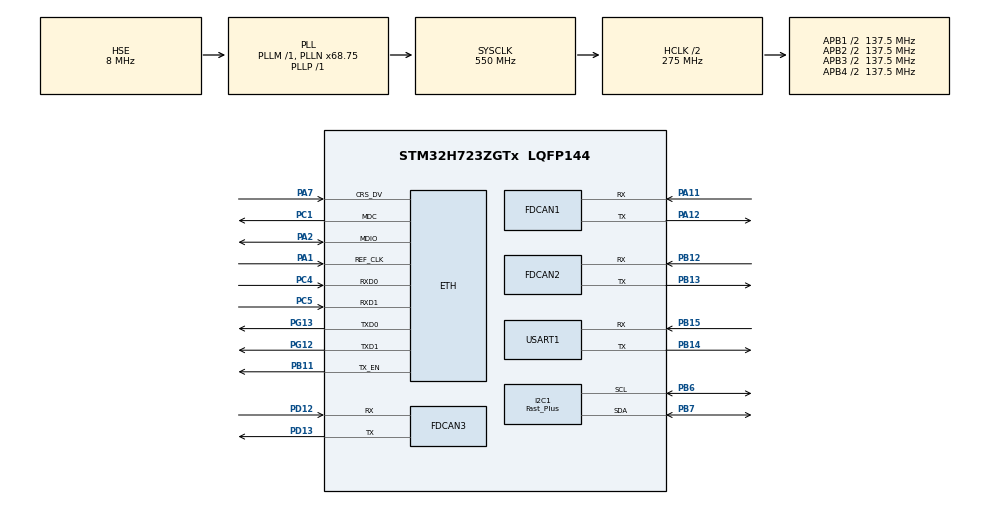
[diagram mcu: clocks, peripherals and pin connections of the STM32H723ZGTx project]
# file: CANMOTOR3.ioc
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CORTEX_M7.AccessPermission_S-Cortex_Memory_Protection_Unit_Region1_Settings_S=MPU_REGION_FULL_ACCESS
CORTEX_M7.AccessPermission_S-Cortex_Memory_Protection_Unit_Region2_Settings_S=MPU_REGION_FULL_ACCESS
CORTEX_M7.AccessPermission_Spec=MPU_REGION_NO_ACCESS
CORTEX_M7.BaseAddress_S-Cortex_Memory_Protection_Unit_Region1_Settings_S=0x30000000
CORTEX_M7.BaseAddress_S-Cortex_Memory_Protection_Unit_Region2_Settings_S=0x30004000
CORTEX_M7.CPU_DCache=Enabled
CORTEX_M7.CPU_ICache=Enabled
CORTEX_M7.Enable_S-Cortex_Memory_Protection_Unit_Region1_Settings_S=MPU_REGION_ENABLE
CORTEX_M7.Enable_S-Cortex_Memory_Protection_Unit_Region2_Settings_S=MPU_REGION_ENABLE
CORTEX_M7.IsBufferable_S-Cortex_Memory_Protection_Unit_Region1_Settings_S=MPU_ACCESS_BUFFERABLE
CORTEX_M7.IsShareable_S-Cortex_Memory_Protection_Unit_Region2_Settings_S=MPU_ACCESS_SHAREABLE
CORTEX_M7.Size_S-Cortex_Memory_Protection_Unit_Region1_Settings_S=MPU_REGION_SIZE_1KB
CORTEX_M7.Size_S-Cortex_Memory_Protection_Unit_Region2_Settings_S=MPU_REGION_SIZE_16KB
CORTEX_M7.TypeExtField_S-Cortex_Memory_Protection_Unit_Region2_Settings_S=MPU_TEX_LEVEL1
CORTEX_M7.default_mode_Activation=1
ETH.MediaInterface=HAL_ETH_RMII_MODE
ETH.RxBufferAddress=0x30000400
ETH.TxDescAddress=0x30000200
FDCAN1.AutoRetransmission=DISABLE
FDCAN1.CalculateBaudRateNominal=1000000
FDCAN1.CalculateTimeBitNominal=1000
FDCAN1.CalculateTimeQuantumNominal=20.0
FDCAN1.DataPrescaler=2
FDCAN1.DataSyncJumpWidth=5
FDCAN1.DataTimeSeg1=14
FDCAN1.DataTimeSeg2=10
FDCAN1.ExtFiltersNbr=1
FDCAN1.MessageRAMOffset=200
FDCAN1.NominalPrescaler=1
FDCAN1.NominalSyncJumpWidth=5
FDCAN1.NominalTimeSeg1=29
FDCAN1.NominalTimeSeg2=20
FDCAN1.RxFifo0ElmtsNbr=4
FDCAN1.TxFifoQueueElmtsNbr=4
FDCAN2.AutoRetransmission=DISABLE
FDCAN2.CalculateBaudRateNominal=1000000
FDCAN2.CalculateTimeBitNominal=1000
FDCAN2.CalculateTimeQuantumNominal=20.0
FDCAN2.DataPrescaler=2
FDCAN2.DataSyncJumpWidth=5
FDCAN2.DataTimeSeg1=14
FDCAN2.DataTimeSeg2=10
FDCAN2.ExtFiltersNbr=1
FDCAN2.MessageRAMOffset=100
FDCAN2.NominalPrescaler=1
FDCAN2.NominalSyncJumpWidth=5
FDCAN2.NominalTimeSeg1=29
FDCAN2.NominalTimeSeg2=20
FDCAN2.RxFifo0ElmtsNbr=0
FDCAN2.RxFifo1ElmtsNbr=4
FDCAN2.TxFifoQueueElmtsNbr=4
FDCAN3.AutoRetransmission=ENABLE
FDCAN3.CalculateBaudRateNominal=1000000
FDCAN3.CalculateTimeBitNominal=1000
FDCAN3.CalculateTimeQuantumNominal=20.0
FDCAN3.DataPrescaler=2
FDCAN3.DataSyncJumpWidth=5
FDCAN3.DataTimeSeg1=14
FDCAN3.DataTimeSeg2=10
FDCAN3.ExtFiltersNbr=1
FDCAN3.MessageRAMOffset=0
FDCAN3.NominalPrescaler=1
FDCAN3.NominalSyncJumpWidth=5
FDCAN3.NominalTimeSeg1=29
FDCAN3.NominalTimeSeg2=20
FDCAN3.RxFifo0ElmtsNbr=4
FDCAN3.TxFifoQueueElmtsNbr=4
I2C1.I2C_Fall_Time=100
I2C1.I2C_Rise_Time=100
I2C1.I2C_Speed_Mode=I2C_Fast_Plus
I2C1.Timing=0x10A20D1F
LWIP.BSP.number=1
LWIP.GATEWAY_ADDRESS=192.168.100.100
LWIP.IP_ADDRESS=192.168.001.010
LWIP.LWIP_DHCP=0
LWIP.MEM_SIZE=10*1024
LWIP.NETMASK_ADDRESS=255.255.255.000
LWIP.Version=v2.1.2_Cube
LWIP0.BSP.STBoard=false
LWIP0.BSP.api=BSP_COMPONENT_DRIVER
LWIP0.BSP.component=LAN8742
LWIP0.BSP.instance=LAN8742
LWIP0.BSP.name=Driver_PHY
LWIP0.BSP.semaphore=S_LAN8742
LWIP0.BSP.solution=LAN8742
Mcu.Family=STM32H7
Mcu.Name=STM32H723ZGTx
Mcu.Package=LQFP144
NVIC.FDCAN1_IT0_IRQn=true\:0\:0\:false\:false\:true\:true\:true\:true
NVIC.FDCAN2_IT0_IRQn=true\:0\:0\:false\:false\:true\:true\:true\:true
NVIC.FDCAN3_IT0_IRQn=true\:0\:0\:false\:false\:true\:true\:true\:true
NVIC.I2C1_EV_IRQn=true\:0\:0\:false\:false\:true\:true\:true\:true
NVIC.PriorityGroup=NVIC_PRIORITYGROUP_4
NVIC.TIM2_IRQn=true\:15\:0\:false\:false\:true\:false\:true\:true
NVIC.TimeBase=TIM2_IRQn
NVIC.TimeBaseIP=TIM2
PA1.Mode=RMII
PA1.Signal=ETH_REF_CLK
PA11.Mode=FDCAN_Activate
PA11.Signal=FDCAN1_RX
PA12.Mode=FDCAN_Activate
PA12.Signal=FDCAN1_TX
PA2.Mode=RMII
PA2.Signal=ETH_MDIO
PA7.Mode=RMII
PA7.Signal=ETH_CRS_DV
PB11.Mode=RMII
PB11.Signal=ETH_TX_EN
PB12.Mode=FDCAN_Activate
PB12.Signal=FDCAN2_RX
PB13.Mode=FDCAN_Activate
PB13.Signal=FDCAN2_TX
PB14.Mode=Asynchronous
PB14.Signal=USART1_TX
PB15.Mode=Asynchronous
PB15.Signal=USART1_RX
PB6.Mode=I2C
PB6.Signal=I2C1_SCL
PB7.Mode=I2C
PB7.Signal=I2C1_SDA
PC1.Mode=RMII
PC1.Signal=ETH_MDC
PC4.Mode=RMII
PC4.Signal=ETH_RXD0
PC5.Mode=RMII
PC5.Signal=ETH_RXD1
PD12.Mode=FDCAN_Activate
PD12.Signal=FDCAN3_RX
PD13.Mode=FDCAN_Activate
PD13.Signal=FDCAN3_TX
PG12.Mode=RMII
PG12.Signal=ETH_TXD1
PG13.Mode=RMII
PG13.Signal=ETH_TXD0
PH0-OSC_IN.Mode=HSE-External-Oscillator
PH0-OSC_IN.Signal=RCC_OSC_IN
PH1-OSC_OUT.Mode=HSE-External-Oscillator
PH1-OSC_OUT.Signal=RCC_OSC_OUT
ProjectManager.HeapSize=0x200
ProjectManager.StackSize=0x400
ProjectManager.TargetToolchain=STM32CubeIDE
RCC.ADCFreq_Value=32000000
RCC.APB1Freq_Value=137500000
RCC.APB2Freq_Value=137500000
RCC.APB3Freq_Value=137500000
RCC.APB4Freq_Value=137500000
RCC.CortexFreq_Value=550000000
RCC.D1PPRE=RCC_APB3_DIV2
RCC.D2PPRE1=RCC_APB1_DIV2
RCC.D2PPRE2=RCC_APB2_DIV2
RCC.D3PPRE=RCC_APB4_DIV2
RCC.DIVM1=1
RCC.DIVM2=2
RCC.DIVN1=68
RCC.DIVN2=16
RCC.DIVP1=1
RCC.DIVQ1=11
RCC.DIVQ2=4
RCC.HCLKFreq_Value=275000000
RCC.HPRE=RCC_HCLK_DIV2
RCC.HSE_VALUE=8000000
RCC.PLL2FRACN=0
RCC.PLL3FRACN=0
RCC.PLLFRACN=6144
RCC.PLLSourceVirtual=RCC_PLLSOURCE_HSE
RCC.SYSCLKFreq_VALUE=550000000
RCC.SYSCLKSource=RCC_SYSCLKSOURCE_PLLCLK
RCC.USBFreq_Value=50000000
USART1.VirtualMode-Asynchronous=VM_ASYNC
VP_LWIP_VS_Enabled.Mode=Enabled
VP_MEMORYMAP_VS_MEMORYMAP.Mode=CurAppReg
VP_SYS_VS_tim2.Mode=TIM2
VP_TIM1_VS_ClockSourceINT.Mode=Internal
board=custom

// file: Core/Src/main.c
/* USER CODE BEGIN Header */
/**
  ******************************************************************************
  * @file           : main.c
  * @brief          : Main program body
  ******************************************************************************
  * @attention
  *
  * Copyright (c) 2025 STMicroelectronics.
  * All rights reserved.
  *
  * This software is licensed under terms that can be found in the LICENSE file
  * in the root directory of this software component.
  * If no LICENSE file comes with this software, it is provided AS-IS.
  *
  ******************************************************************************
  */
/* USER CODE END Header */
#include "main.h"
#include "fdcan.h"
#include "i2c.h"
#include "lwip.h"
#include "memorymap.h"
#include "tim.h"
#include "usart.h"
#include "gpio.h"

/* USER CODE BEGIN Includes */
#include "stdio.h"
#include "string.h"
#include "udpSever.h"
#include "motor_control.h"
#include "math.h"
extern int udp_count;

volatile uint8_t uart_flag = 0;
uint8_t TxData[8];
uint8_t RxData[8];
FDCAN_TxHeaderTypeDef TxHeader;
FDCAN_RxHeaderTypeDef RxHeader;
uint8_t RxUDP[300];
#define POLYNOMIAL 0x04C11DB7
#define INITIAL_CRC 0xFFFFFFFF
MotorReceive MotorRcv;
uint32_t last_time_rcv_udp;
uint32_t udp_timeout_count = 0;
/* USER CODE END Includes */

/* USER CODE BEGIN PTD */
FDCAN_TxHeaderTypeDef TxHeader;
FDCAN_RxHeaderTypeDef RxHeader;
typedef struct {
    uint16_t motor_id;
    int canbus;
    const MotorConfig *cfg;
} MotorMap;
const MotorMap motor_map_upper_body[11] = {
    {MOTOR_13, CANBUS_2, &motor2_cfg},
	{MOTOR_14, CANBUS_2, &motor2_cfg},
	{MOTOR_15, CANBUS_1, &motor2_cfg},
	{MOTOR_16, CANBUS_1, &motor2_cfg},
	{MOTOR_17, CANBUS_1, &motor2_cfg},
	{MOTOR_18, CANBUS_1, &motor2_cfg},
	{MOTOR_19, CANBUS_1, &motor2_cfg},
	{MOTOR_20, CANBUS_3, &motor2_cfg},
	{MOTOR_21, CANBUS_3, &motor2_cfg},
	{MOTOR_22, CANBUS_3, &motor2_cfg},
	{MOTOR_23, CANBUS_3, &motor2_cfg}
};
/* USER CODE END PTD */

/* USER CODE BEGIN PD */
extern struct netif gnetif;

HAL_StatusTypeDef LAN8720_ReadPHY(uint8_t phy_addr, uint8_t reg_addr,
		uint16_t *data) {
	uint32_t reg_value;
	HAL_StatusTypeDef status = HAL_ETH_ReadPHYRegister(&heth, phy_addr,
			reg_addr, &reg_value);
	*data = (uint16_t) reg_value;
	return status;
}
HAL_StatusTypeDef LAN8720_WritePHY(uint8_t phy_addr, uint8_t reg_addr,
		uint16_t data) {
	return HAL_ETH_WritePHYRegister(&heth, phy_addr, reg_addr, data);
}
// H m ki?m tra tr?ng th i k?t n?i PHY
void PHY_CheckStatus(void) {
	uint16_t status = 0;
	uint16_t control = 0;
	uint16_t phy_spec_status = 0;
	//  ?c thanh ghi Basic Control (0x00)
	LAN8720_ReadPHY(LAN8720_PHY_ADDRESS, 0x00, &control);
	printf("PHY Basic Control Register: 0x%04X\n", control);

	//  ?c thanh ghi Basic Status (0x01)
	LAN8720_ReadPHY(LAN8720_PHY_ADDRESS, 0x01, &status);
	printf("PHY Basic Status Register: 0x%04X\n", status);

	// Ki?m tra tr?ng th i li n k?t
	if (status & 0x0004) { // Bit 2: Link Status

		printf("PHY Link is UP\n");

		// Ki?m tra t?c d? v  ch? d? duplex
		LAN8720_ReadPHY(LAN8720_PHY_ADDRESS, 0x1F, &phy_spec_status);
		printf("PHY Specific Status: 0x%04X\n", phy_spec_status);

		if (phy_spec_status & 0x0400) { // Bit 10: Speed 100Mbps
			printf("Speed: 100Mbps\n");
		} else {
			printf("Speed: 10Mbps\n");
		}

		if (phy_spec_status & 0x0800) { // Bit 11: Full Duplex
			printf("Duplex: Full\n");
		} else {
			printf("Duplex: Half\n");
		}
	} else {
		NVIC_SystemReset();
		printf("PHY Link is DOWN\n");
	}
}
								//Extended ID - 29 bits

/* USER CODE END Includes */

/* Private typedef -----------------------------------------------------------*/
/* USER CODE BEGIN PTD */
void Send_UDP(){

}
/* USER CODE END PTD */

/* Private define ------------------------------------------------------------*/
/* USER CODE BEGIN PD */

/* USER CODE END PD */

void SystemClock_Config(void);
static void MPU_Config(void);

/* USER CODE BEGIN 0 */
float t_ff = 0;
/* USER CODE END 0 */

int main(void)
{

  /* MPU Configuration--------------------------------------------------------*/
  MPU_Config();

  /* Enable the CPU Cache */

  /* Enable I-Cache---------------------------------------------------------*/
  SCB_EnableICache();

  /* Enable D-Cache---------------------------------------------------------*/
  //SCB_EnableDCache();

  /* MCU Configuration--------------------------------------------------------*/

  /* Reset of all peripherals, Initializes the Flash interface and the Systick. */
  HAL_Init();

  /* USER CODE BEGIN Init */

  //HAL_Delay(5000);

  /* USER CODE END Init */

  /* Configure the system clock */
  SystemClock_Config();

  /* Initialize all configured peripherals */
  MX_GPIO_Init();
  MX_FDCAN1_Init();
  MX_USART1_UART_Init();
  MX_FDCAN2_Init();
  MX_I2C1_Init();
  MX_LWIP_Init();
  MX_FDCAN3_Init();
  MX_TIM1_Init();
  /* USER CODE BEGIN 2 */
  if(HAL_FDCAN_Start(&hfdcan1) != HAL_OK){
	  return 0;
  }
  if (HAL_FDCAN_ActivateNotification(&hfdcan1, FDCAN_IT_RX_FIFO0_NEW_MESSAGE,
			0) != HAL_OK) {
		/* Notification Error */
		Error_Handler();
	}
  if(HAL_FDCAN_Start(&hfdcan2) != HAL_OK){
	  return 0;
  }
  if (HAL_FDCAN_ActivateNotification(&hfdcan2, FDCAN_IT_RX_FIFO1_NEW_MESSAGE,
			0) != HAL_OK) {
		/* Notification Error */
		Error_Handler();
  }
  if(HAL_FDCAN_Start(&hfdcan3) != HAL_OK){
		  return 0;
  }
  if (HAL_FDCAN_ActivateNotification(&hfdcan3, FDCAN_IT_RX_FIFO0_NEW_MESSAGE,
				0) != HAL_OK) {
			/* Notification Error */
			Error_Handler();
  }
  ///TxHeader.Identifier = 0x09;
  TxHeader.IdType = FDCAN_EXTENDED_ID;
  TxHeader.TxFrameType = FDCAN_DATA_FRAME;
  TxHeader.DataLength = FDCAN_DLC_BYTES_8;
  TxHeader.ErrorStateIndicator = FDCAN_ESI_ACTIVE;
  TxHeader.BitRateSwitch = FDCAN_BRS_OFF;
  TxHeader.FDFormat = FDCAN_CLASSIC_CAN;
  TxHeader.TxEventFifoControl = FDCAN_NO_TX_EVENTS;
  TxHeader.MessageMarker = 0;

  PHY_CheckStatus();
  udpServer_init();
  EnableAllMotor();

  /* USER CODE END 2 */

  /* Infinite loop */
  while (1)
  {

    /* USER CODE BEGIN 3 */
	  ethernetif_input(&gnetif);
	  sys_check_timeouts();

	  uint32_t now = HAL_GetTick();

	  if(now  - last_time_rcv_udp > 10){
		  udp_timeout_count++;
	  }
	  memcpy(&MotorRcv, &RxUDP, sizeof(MotorReceive));

	  for (int i = 0; i < 11; i++) {
		  MotorReceiveCommand(
			  motor_map_upper_body[i].motor_id,
			  MotorRcv.motor[i].torque,
			  MotorRcv.motor[i].position,
			  MotorRcv.motor[i].speed,
			  MotorRcv.motor[i].kp,
			  MotorRcv.motor[i].kd,
			  motor_map_upper_body[i].canbus,
			  motor_map_upper_body[i].cfg
		  );
	  }
  }
  /* USER CODE END 3 */
}

void SystemClock_Config(void)
{
  RCC_OscInitTypeDef RCC_OscInitStruct = {0};
  RCC_ClkInitTypeDef RCC_ClkInitStruct = {0};

  /** Supply configuration update enable
  */
  HAL_PWREx_ConfigSupply(PWR_LDO_SUPPLY);

  /** Configure the main internal regulator output voltage
  */
  __HAL_PWR_VOLTAGESCALING_CONFIG(PWR_REGULATOR_VOLTAGE_SCALE0);

  while(!__HAL_PWR_GET_FLAG(PWR_FLAG_VOSRDY)) {}

  /** Initializes the RCC Oscillators according to the specified parameters
  * in the RCC_OscInitTypeDef structure.
  */
  RCC_OscInitStruct.OscillatorType = RCC_OSCILLATORTYPE_HSE;
  RCC_OscInitStruct.HSEState = RCC_HSE_ON;
  RCC_OscInitStruct.PLL.PLLState = RCC_PLL_ON;
  RCC_OscInitStruct.PLL.PLLSource = RCC_PLLSOURCE_HSE;
  RCC_OscInitStruct.PLL.PLLM = 1;
  RCC_OscInitStruct.PLL.PLLN = 68;
  RCC_OscInitStruct.PLL.PLLP = 1;
  RCC_OscInitStruct.PLL.PLLQ = 11;
  RCC_OscInitStruct.PLL.PLLR = 2;
  RCC_OscInitStruct.PLL.PLLRGE = RCC_PLL1VCIRANGE_3;
  RCC_OscInitStruct.PLL.PLLVCOSEL = RCC_PLL1VCOWIDE;
  RCC_OscInitStruct.PLL.PLLFRACN = 6144;
  if (HAL_RCC_OscConfig(&RCC_OscInitStruct) != HAL_OK)
  {
    Error_Handler();
  }

  /** Initializes the CPU, AHB and APB buses clocks
  */
  RCC_ClkInitStruct.ClockType = RCC_CLOCKTYPE_HCLK|RCC_CLOCKTYPE_SYSCLK
                              |RCC_CLOCKTYPE_PCLK1|RCC_CLOCKTYPE_PCLK2
                              |RCC_CLOCKTYPE_D3PCLK1|RCC_CLOCKTYPE_D1PCLK1;
  RCC_ClkInitStruct.SYSCLKSource = RCC_SYSCLKSOURCE_PLLCLK;
  RCC_ClkInitStruct.SYSCLKDivider = RCC_SYSCLK_DIV1;
  RCC_ClkInitStruct.AHBCLKDivider = RCC_HCLK_DIV2;
  RCC_ClkInitStruct.APB3CLKDivider = RCC_APB3_DIV2;
  RCC_ClkInitStruct.APB1CLKDivider = RCC_APB1_DIV2;
  RCC_ClkInitStruct.APB2CLKDivider = RCC_APB2_DIV2;
  RCC_ClkInitStruct.APB4CLKDivider = RCC_APB4_DIV2;

  if (HAL_RCC_ClockConfig(&RCC_ClkInitStruct, FLASH_LATENCY_3) != HAL_OK)
  {
    Error_Handler();
  }
}

void HAL_FDCAN_RxFifo0Callback(FDCAN_HandleTypeDef *hfdcan, uint32_t RxFifo0ITs) {
    if ((RxFifo0ITs & FDCAN_IT_RX_FIFO0_NEW_MESSAGE) != RESET) {
        while (HAL_FDCAN_GetRxFifoFillLevel(hfdcan, FDCAN_RX_FIFO0) > 0) {
            if (HAL_FDCAN_GetRxMessage(hfdcan, FDCAN_RX_FIFO0, &RxHeader, RxData) != HAL_OK) {
                Error_Handler();
            }

            if (hfdcan->Instance == FDCAN1) {
                uint8_t canid = decode_can_id(RxHeader.Identifier);
                switch(canid){
                case MOTOR_15:
					MotorResponse(RxData, MOTOR_15);
                	break;
                case MOTOR_16:
                    MotorResponse(RxData, MOTOR_16);
                	break;
                case MOTOR_17:
                    MotorResponse(RxData, MOTOR_17);
                	break;
                case MOTOR_18:
                    MotorResponse(RxData, MOTOR_18);
                	break;

                }

            }
            if (hfdcan->Instance == FDCAN3) {
                uint8_t canid = decode_can_id(RxHeader.Identifier);
                switch(canid){
                case MOTOR_20:
					MotorResponse(RxData, MOTOR_20);
                	break;
                case MOTOR_21:
                    MotorResponse(RxData, MOTOR_21);
                	break;
                case MOTOR_22:
                    MotorResponse(RxData, MOTOR_22);
                	break;
                case MOTOR_23:
                    MotorResponse(RxData, MOTOR_23);
                	break;

                }

            }
            if (HAL_FDCAN_ActivateNotification(&hfdcan1, FDCAN_IT_RX_FIFO0_NEW_MESSAGE,
          			0) != HAL_OK) {
          		/* Notification Error */
          		Error_Handler();
          	}

        }
    }
}
void HAL_FDCAN_RxFifo1Callback(FDCAN_HandleTypeDef *hfdcan, uint32_t RxFifo0ITs) {
    if ((RxFifo0ITs & FDCAN_IT_RX_FIFO1_NEW_MESSAGE) != RESET) {
            if (HAL_FDCAN_GetRxMessage(hfdcan, FDCAN_RX_FIFO1, &RxHeader, RxData) != HAL_OK) {
                Error_Handler();
            }

            if (hfdcan->Instance == FDCAN2) {
                uint8_t canid = decode_can_id(RxHeader.Identifier);
                switch(canid){
                case MOTOR_13:
					MotorResponse(RxData, MOTOR_13);
                	break;
                case MOTOR_14:
					MotorResponse(RxData, MOTOR_14);
                	break;

			    case MOTOR_19:
					MotorResponse(RxData, MOTOR_19);
				     break;

            }
            if (HAL_FDCAN_ActivateNotification(&hfdcan2, FDCAN_IT_RX_FIFO1_NEW_MESSAGE,
          			0) != HAL_OK) {
          		/* Notification Error */
          		Error_Handler();
            }
            }

    }
}

/* USER CODE END 4 */

 /* MPU Configuration */

void MPU_Config(void)
{
  MPU_Region_InitTypeDef MPU_InitStruct = {0};

  /* Disables the MPU */
  HAL_MPU_Disable();

  /** Initializes and configures the Region and the memory to be protected
  */
  MPU_InitStruct.Enable = MPU_REGION_ENABLE;
  MPU_InitStruct.Number = MPU_REGION_NUMBER0;
  MPU_InitStruct.BaseAddress = 0x0;
  MPU_InitStruct.Size = MPU_REGION_SIZE_4GB;
  MPU_InitStruct.SubRegionDisable = 0x87;
  MPU_InitStruct.TypeExtField = MPU_TEX_LEVEL0;
  MPU_InitStruct.AccessPermission = MPU_REGION_NO_ACCESS;
  MPU_InitStruct.DisableExec = MPU_INSTRUCTION_ACCESS_DISABLE;
  MPU_InitStruct.IsShareable = MPU_ACCESS_SHAREABLE;
  MPU_InitStruct.IsCacheable = MPU_ACCESS_NOT_CACHEABLE;
  MPU_InitStruct.IsBufferable = MPU_ACCESS_NOT_BUFFERABLE;

  HAL_MPU_ConfigRegion(&MPU_InitStruct);

  /** Initializes and configures the Region and the memory to be protected
  */
  MPU_InitStruct.Number = MPU_REGION_NUMBER1;
  MPU_InitStruct.BaseAddress = 0x30000000;
  MPU_InitStruct.Size = MPU_REGION_SIZE_1KB;
  MPU_InitStruct.SubRegionDisable = 0x0;
  MPU_InitStruct.AccessPermission = MPU_REGION_FULL_ACCESS;
  MPU_InitStruct.DisableExec = MPU_INSTRUCTION_ACCESS_ENABLE;
  MPU_InitStruct.IsShareable = MPU_ACCESS_NOT_SHAREABLE;
  MPU_InitStruct.IsBufferable = MPU_ACCESS_BUFFERABLE;

  HAL_MPU_ConfigRegion(&MPU_InitStruct);

  /** Initializes and configures the Region and the memory to be protected
  */
  MPU_InitStruct.Number = MPU_REGION_NUMBER2;
  MPU_InitStruct.BaseAddress = 0x30004000;
  MPU_InitStruct.Size = MPU_REGION_SIZE_16KB;
  MPU_InitStruct.TypeExtField = MPU_TEX_LEVEL1;
  MPU_InitStruct.IsShareable = MPU_ACCESS_SHAREABLE;
  MPU_InitStruct.IsBufferable = MPU_ACCESS_NOT_BUFFERABLE;

  HAL_MPU_ConfigRegion(&MPU_InitStruct);
  /* Enables the MPU */
  HAL_MPU_Enable(MPU_PRIVILEGED_DEFAULT);

}

void HAL_TIM_PeriodElapsedCallback(TIM_HandleTypeDef *htim)
{
  if (htim->Instance == TIM2)
  {
    HAL_IncTick();
  }
}

void Error_Handler(void)
{
  __disable_irq();
  while (1)
  {
  }
}
